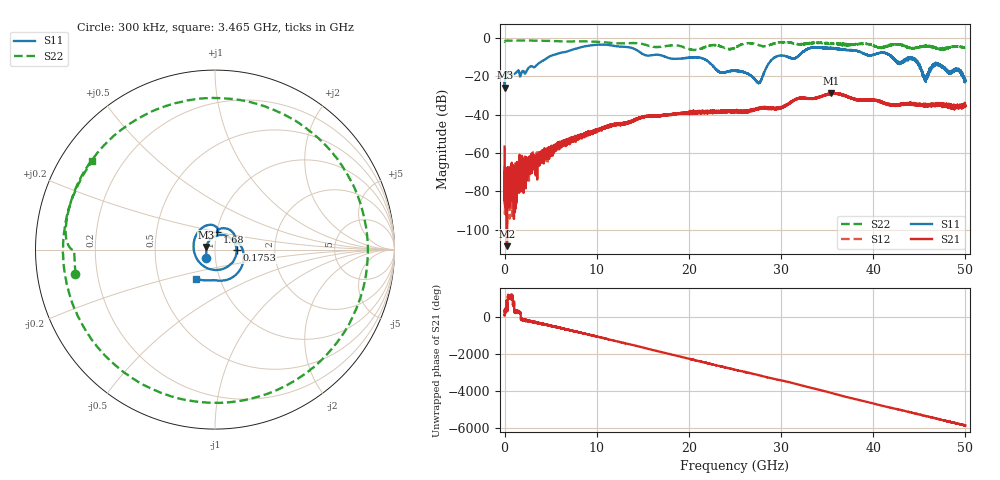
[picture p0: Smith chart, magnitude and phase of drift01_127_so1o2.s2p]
!Created with skrf (http://scikit-rf.org).
# Hz S RI R 50.0
!freq ReS11 ImS11 ReS21 ImS21 ReS12 ImS12 ReS22 ImS22
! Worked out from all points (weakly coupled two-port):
!   10001 points, 300 kHz to 50 GHz, reference 50 ohm
!   highest |S21| = -28.72 dB at 35.42 GHz (marker M1); lowest = -108.5 dB at 260.3 MHz (marker M2)
!   lowest |S11| = -25.9 dB at 5.3 MHz (marker M3), VSWR 1.11, Z = 45.3 + j1.37 ohm
!   |S11| at or under -10 dB: start of sweep to 4.769 GHz; 17.53 GHz to 29.38 GHz (11.86 GHz wide, 50.5 % of centre); 44.04 GHz to end of sweep (the widest 3 of 12)
!   |S22| runs from -6.4 to -1.4 dB; largest |S21 - S12| = 0.004
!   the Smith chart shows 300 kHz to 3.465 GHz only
!   S11 on the Smith chart (normalised r, x): 300 kHz: 0.90, -0.09; 175.3 MHz: 1.27, -0.01; 1.68 GHz: 1.01, +0.20; 3.465 GHz: 0.77, -0.26
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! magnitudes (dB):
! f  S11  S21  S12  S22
! 300 kHz  -23.2  -56.6  -66.7  -2.1
! 5.3 MHz  -25.9  -68.5  -76.7  -2.1
! 175.3 MHz  -18.4  -68.7  -78.8  -1.4
! 260.3 MHz  -18.3  -108.5  -77.8  -1.4
! 1.68 GHz  -20.1  -68.4  -72.9  -1.4
! 3.465 GHz  -14.3  -62.6  -64.4  -1.5
! 8.335 GHz  -4.8  -50.9  -51.5  -1.8
! 16.67 GHz  -8.8  -40.4  -40.8  -4.8
! 21.22 GHz  -10.3  -39.0  -39.0  -5.7
! 23.4 GHz  -18.0  -38.0  -38.4  -4.3
! 25 GHz  -17.1  -38.8  -38.0  -5.0
! 27.59 GHz  -23.5  -36.9  -36.8  -3.8
! 29.28 GHz  -10.3  -36.4  -36.9  -2.9
! 31.48 GHz  -10.8  -32.3  -32.3  -2.9
! 33.34 GHz  -5.1  -31.7  -31.6  -2.7
! 35.42 GHz  -5.3  -28.7  -28.9  -2.9
! 41.67 GHz  -8.7  -34.3  -34.7  -4.2
! 42.8 GHz  -13.2  -34.8  -34.9  -3.6
! 44.43 GHz  -11.0  -35.1  -34.2  -5.3
! 45.63 GHz  -21.1  -35.0  -35.4  -4.4
! 46.96 GHz  -13.3  -34.5  -34.7  -5.7
! 50 GHz  -21.8  -35.4  -34.8  -5.3
